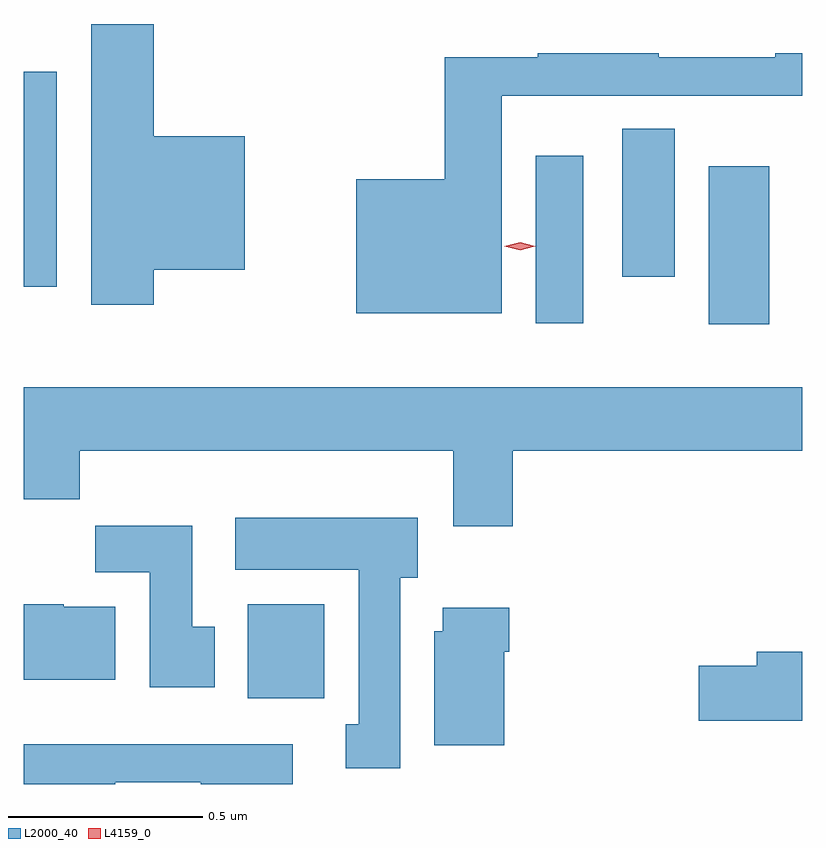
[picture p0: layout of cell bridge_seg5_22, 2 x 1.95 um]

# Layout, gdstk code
import gdstk
lib = gdstk.Library(unit=1e-6, precision=1e-09)
def R(c, l, rs):  # rectangles x0, y0, x1, y1
    for r in rs: c.add(gdstk.rectangle(r[:2], r[2:], *l))
def P(c, l, *ps):  # polygons
    for p in ps: c.add(gdstk.Polygon(p, *l))
L2000_40 = (2000, 40)
L4159_0 = (4159, 0)

bridge_seg5_22 = lib.new_cell('bridge_seg5_22')
R(bridge_seg5_22, L2000_40, [(958.049,880.1,958.246,880.342), (959.234,881.061,959.389,881.467), (958.79,881.064,958.912,881.494), (957.474,881.158,957.558,881.71), (959.012,881.184,959.146,881.564)])
P(bridge_seg5_22, L2000_40, [(957.808,881.201),(958.042,881.201),(958.042,881.545),(957.808,881.545),(957.808,881.833),(957.647,881.833),(957.647,881.112),(957.808,881.112)],
  [(958.702,881.648),(958.908,881.648),(958.908,881.649),(959.242,881.649),(959.242,881.648),(959.474,881.648),(959.474,881.758),(959.405,881.758),(959.405,881.748),(959.105,881.748),(959.105,881.758),(958.795,881.758),(958.795,881.748),(958.556,881.748),(958.556,881.434),(958.328,881.434),(958.328,881.09),(958.702,881.09)],
  [(958.73,880.736),(959.474,880.736),(959.474,880.9),(957.474,880.9),(957.474,880.612),(957.617,880.612),(957.617,880.736),(958.577,880.736),(958.577,880.542),(958.73,880.542)],
  [(958.441,880.41),(958.486,880.41),(958.486,880.564),(958.017,880.564),(958.017,880.43),(958.334,880.43),(958.334,880.034),(958.301,880.034),(958.301,879.921),(958.441,879.921)],
  [(957.964,880.284),(957.907,880.284),(957.907,880.543),(957.658,880.543),(957.658,880.424),(957.797,880.424),(957.797,880.128),(957.964,880.128)],
  [(957.709,880.336),(957.576,880.336),(957.576,880.342),(957.474,880.342),(957.474,880.148),(957.709,880.148)],
  [(958.708,880.22),(958.721,880.22),(958.721,880.333),(958.55,880.333),(958.55,880.272),(958.529,880.272),(958.529,879.98),(958.708,879.98)],
  [(959.474,880.22),(959.357,880.22),(959.357,880.184),(959.208,880.184),(959.208,880.042),(959.474,880.042)],
  [(957.709,879.885),(957.929,879.885),(957.929,879.88),(958.165,879.88),(958.165,879.982),(957.474,879.982),(957.474,879.88),(957.709,879.88)])
P(bridge_seg5_22, L4159_0, [(958.749,881.252),(958.709,881.262),(958.709,881.262),(958.709,881.262),(958.749,881.272),(958.788,881.262),(958.789,881.262),(958.788,881.262)])

lib.write_gds('bridge_seg5_22.gds')
